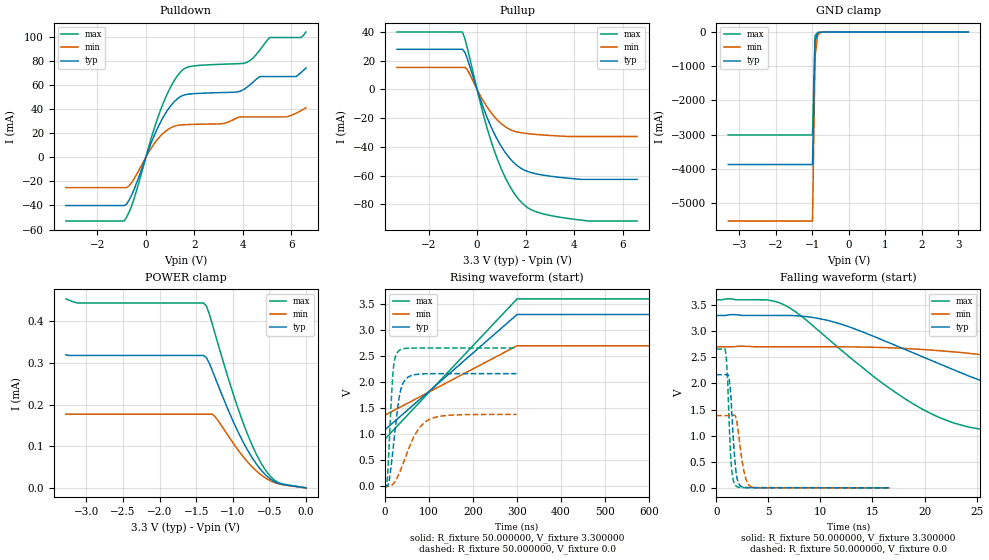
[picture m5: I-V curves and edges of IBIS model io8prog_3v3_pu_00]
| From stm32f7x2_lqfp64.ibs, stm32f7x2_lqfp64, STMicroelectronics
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|   Model io8prog_3v3_pu_00
[Model]  io8prog_3v3_pu_00
Model_type I/O
Polarity   Non-Inverting
Enable   Active-Low
Vinl =   0.990000V
Vinh =   2.310000V
Vmeas =  1.650000V
Cref =   100.000000nF
Rref =   1.000000k
Vref =   3.300000V
C_comp   2.665600pF   2.506300pF   2.859000pF
[Temperature Range]   25.000000   0.125000k   -40.000000
[Pullup Reference]   3.300000V   2.700000V   3.600000V
[Pulldown Reference]   0.0V   0.0V   0.0V
[POWER Clamp Reference]   3.300000V   2.700000V   3.600000V
[GND Clamp Reference]   0.0V   0.0V   0.0V
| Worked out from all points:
|   slope of the pulldown table from 0 to 0.495 V, typ, clamps not added: 20 ohm
|   slope of the pullup table from 0 to 0.495 V, typ, clamps not added: 21.7 ohm
|   GND clamp passes 1 mA (typ) near -0.57 V on its own axis
|   rising waveform, R_fixture 50.000000, V_fixture 3.300000: 20-80 % time 180ns typ, 180ns min, 180ns max; typ from 1.09 V to 3.3 V
|   rising waveform, R_fixture 50.000000, V_fixture 0.0: 20-80 % time 18.3ns typ, 43.4ns min, 9.75ns max; typ from 0.001 V to 2.17 V
|   falling waveform, R_fixture 50.000000, V_fixture 3.300000: 20-80 % time 17.4ns typ, 34.6ns min, 10.8ns max; typ from 3.3 V to 1.09 V
|   falling waveform, R_fixture 50.000000, V_fixture 0.0: 20-80 % time 421ps typ, 611ps min, 335ps max; typ from 2.17 V to 0.001 V
[Pulldown]
|Voltage   I(typ)   I(min)   I(max)
-3.3V     -40.11mA   -25.24mA   -52.93mA
-900mV    -40.11mA   -25.24mA   -52.93mA
-500mV    -27.39mA   -18.31mA   -35.21mA
600mV     29.01mA    17.61mA    38.88mA
1.1V      44.56mA    25.16mA    61.26mA
1.5V      51.11mA    26.89mA    72.21mA
3.1V      53.67mA    27.79mA    77.15mA
4.1V      57.05mA    33.46mA    78.24mA
4.7V      66.98mA    33.46mA    89.07mA
5.1V      66.98mA    33.46mA    99.37mA
6.2V      66.99mA    36.63mA    99.37mA
6.6V      74.18mA    41.08mA    103.9mA
[Pullup]
|Voltage   I(typ)   I(min)   I(max)
-3.3V     27.92mA    15.29mA    39.95mA
-600mV    27.92mA    15.29mA    39.95mA
-500mV    25.88mA    15.29mA    35.28mA
-400mV    21.3mA     13.82mA    28.75mA
300mV     -14.62mA   -9.248mA   -20.15mA
800mV     -33.8mA    -20.67mA   -46.89mA
1.1V      -42.41mA   -25.28mA   -59.19mA
1.4V      -49.01mA   -28.29mA   -68.91mA
2V        -56.64mA   -30.64mA   -81.32mA
2.6V      -59.37mA   -31.63mA   -86.15mA
3.9V      -62.11mA   -32.8mA    -90.25mA
6.6V      -62.7mA    -32.8mA    -91.7mA
[GND_clamp]
|Voltage   I(typ)   I(min)   I(max)
-3.3V     -3.872A    -5.523A    -3.009A
-990mV    -3.872A    -5.523A    -3.009A
-920mV    -262.2mA   -719.6mA   -104.3mA
-850mV    -25.19mA   -100.9mA   -13.07mA
-780mV    -6.959mA   -18mA      -7.19mA
3.28V     0A         5.62nA     0A
[POWER_clamp]
|Voltage   I(typ)   I(min)   I(max)
-3.28V    320uA      177.1uA    454.4uA
-3.12V    318.4uA    177.1uA    444.4uA
-1.4V     318.4uA    177.1uA    444.4uA
-1.36V    313.4uA    177.1uA    437.3uA
-1.28V    282.4uA    177.1uA    394.1uA
-1.24V    264.6uA    170.9uA    369.7uA
-920mV    131.9uA    89.37uA    187.2uA
-760mV    79.48uA    55.14uA    112.7uA
-640mV    48.78uA    35.05uA    68.06uA
-520mV    26.21uA    20.12uA    35uA
-400mV    12.52uA    10.82uA    14.88uA
0V        0A         12.39nA    0A
[Ramp]
| variable   typ   min   max
dV/dt_r  1.29849/18.27012n   0.82877/43.32612n   1.59326/9.74120n
dV/dt_f  1.32696/17.43805n   0.79824/35.61691n   1.61360/10.82772n
R_load = 50.000000
[Rising Waveform]
R_fixture= 50.000000
V_fixture= 3.300000
V_fixture_min= 2.700000
V_fixture_max= 3.600000
|time   V(typ)   V(min)   V(max)
0s        1.088V     1.37V      910.7mV
300.3ns   3.3V       2.7V       3.6V
600.6ns   3.3V       2.7V       3.6V
29.73us   3.3V       2.7V       3.6V
[Rising Waveform]
R_fixture= 50.000000
V_fixture= 0.0
V_fixture_min= 0.0
V_fixture_max= 0.0
|time   V(typ)   V(min)   V(max)
0s        1.044mV    1.019mV    1.073mV
5.405ns   12.66mV    2.791mV    154mV
10.21ns   151.7mV    5.184mV    935.5mV
19.22ns   795.3mV    57.37mV    2.285V
29.43ns   1.543V     199.1mV    2.587V
37.24ns   1.903V     355mV      2.632V
46.25ns   2.049V     553.5mV    2.649V
70.87ns   2.149V     1.031V     2.656V
99.1ns    2.163V     1.28V      2.656V
299.1ns   2.165V     1.382V     2.656V
[Falling Waveform]
R_fixture= 50.000000
V_fixture= 3.300000
V_fixture_min= 2.700000
V_fixture_max= 3.600000
|time   V(typ)   V(min)   V(max)
0s        3.3V       2.7V       3.6V
6.306ns   3.3V       2.7V       3.523V
11.71ns   3.151V     2.7V       2.687V
19.82ns   2.509V     2.649V     1.503V
24.02ns   2.16V      2.58V      1.175V
28.23ns   1.832V     2.487V     1.06V
34.53ns   1.464V     2.326V     988.8mV
42.04ns   1.277V     2.121V     953.2mV
70.27ns   1.124V     1.58V      916mV
149.5ns   1.088V     1.37V      910.7mV
[Falling Waveform]
R_fixture= 50.000000
V_fixture= 0.0
V_fixture_min= 0.0
V_fixture_max= 0.0
|time   V(typ)   V(min)   V(max)
0s        2.165V     1.382V     2.656V
900.9ps   2.166V     1.382V     2.608V
1.101ns   2.172V     1.382V     2.047V
1.201ns   2.132V     1.382V     1.487V
1.435ns   1.668V     1.383V     470mV
1.869ns   373.7mV    1.361V     42.08mV
2.169ns   80.98mV    1.003V     11.83mV
2.669ns   10.38mV    317.8mV    5.631mV
3.303ns   3.347mV    26.8mV     5.272mV
16.62ns   1.044mV    1.019mV    1.073mV
